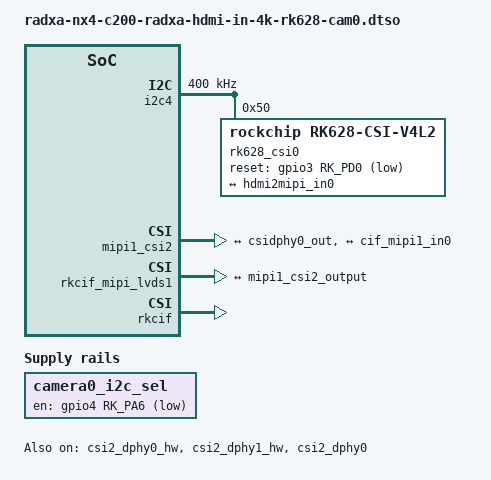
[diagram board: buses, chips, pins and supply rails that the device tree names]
/dts-v1/;
/plugin/;

#include <dt-bindings/gpio/gpio.h>
#include <dt-bindings/pinctrl/rockchip.h>
#include <dt-bindings/power/rockchip,rk3576-power.h>

/ {
	metadata {
		title = "Enable Radxa HDMI IN to MIPI CSI-2 Adapter on CAM0 (4-lane)";
		compatible = "radxa,nx4-c200";
		category = "camera";
		exclusive = "GPIO3_D0", "GPIO4_A6", "csi2_dphy0", "i2c4";
		description = "Enable Radxa 4K HDMI IN to MIPI CSI-2 Adapter on the CAM0 4-lane CSI connector.
To capture audio, also enable the 'SAI2-M0 capture-only dummy sound card' overlay.
";
	};

	camera0_i2c_sel: camera0-i2c-sel {
		compatible = "regulator-fixed";
		regulator-name = "camera0_i2c_sel";
		regulator-always-on;
		regulator-boot-on;
		enable-active-low;
		gpio = <&gpio4 RK_PA6 GPIO_ACTIVE_LOW>;
		pinctrl-names = "default";
		pinctrl-0 = <&cam0_i2c_sel_gpio>;
	};
};

&i2c4 {
	status = "okay";
	pinctrl-names = "default";
	pinctrl-0 = <&i2c4m2_xfer>;
	clock-frequency = <400000>;
	#address-cells = <1>;
	#size-cells = <0>;

	rk628_csi0: rk628-csi@50 {
		compatible = "rockchip,rk628-csi-v4l2";
		reg = <0x50>;
		power-domains = <&power RK3576_PD_VI>;
		pinctrl-names = "default";
		pinctrl-0 = <&rk628_cam0_reset>;
		/* INT and DET are not routed; the driver uses I2C polling. */
		reset-gpios = <&gpio3 RK_PD0 GPIO_ACTIVE_LOW>;
		continues-clk = <1>;
		rockchip,camera-module-index = <0>;
		rockchip,camera-module-facing = "back";
		rockchip,camera-module-name = "HDMI-MIPI1";
		rockchip,camera-module-lens-name = "RK628-CSI";

		port {
			hdmiin_out0: endpoint {
				remote-endpoint = <&hdmi2mipi_in0>;
				data-lanes = <1 2 3 4>;
			};
		};
	};
};

&csi2_dphy0_hw {
	status = "okay";
};

&csi2_dphy1_hw {
	status = "okay";
};

&csi2_dphy0 {
	status = "okay";

	ports {
		#address-cells = <1>;
		#size-cells = <0>;

		port@0 {
			reg = <0>;
			#address-cells = <1>;
			#size-cells = <0>;

			hdmi2mipi_in0: endpoint@1 {
				reg = <1>;
				remote-endpoint = <&hdmiin_out0>;
				data-lanes = <1 2 3 4>;
			};
		};

		port@1 {
			reg = <1>;
			#address-cells = <1>;
			#size-cells = <0>;

			csidphy0_out: endpoint@0 {
				reg = <0>;
				remote-endpoint = <&mipi1_csi2_input>;
			};
		};
	};
};

&mipi1_csi2 {
	status = "okay";

	ports {
		#address-cells = <1>;
		#size-cells = <0>;

		port@0 {
			reg = <0>;
			#address-cells = <1>;
			#size-cells = <0>;

			mipi1_csi2_input: endpoint@1 {
				reg = <1>;
				remote-endpoint = <&csidphy0_out>;
			};
		};

		port@1 {
			reg = <1>;
			#address-cells = <1>;
			#size-cells = <0>;

			mipi1_csi2_output: endpoint@0 {
				reg = <0>;
				remote-endpoint = <&cif_mipi1_in0>;
			};
		};
	};
};

&rkcif_mipi_lvds1 {
	status = "okay";

	port {
		cif_mipi1_in0: endpoint {
			remote-endpoint = <&mipi1_csi2_output>;
		};
	};
};

&rkcif {
	status = "okay";
};

&rkcif_mmu {
	status = "okay";
};

&pinctrl {
	camera {
		rk628_cam0_reset: rk628-cam0-reset {
			rockchip,pins = <3 RK_PD0 RK_FUNC_GPIO &pcfg_pull_none>;
		};

		cam0_i2c_sel_gpio: cam0-i2c-sel-gpio {
			rockchip,pins = <4 RK_PA6 RK_FUNC_GPIO &pcfg_pull_up>;
		};
	};
};
